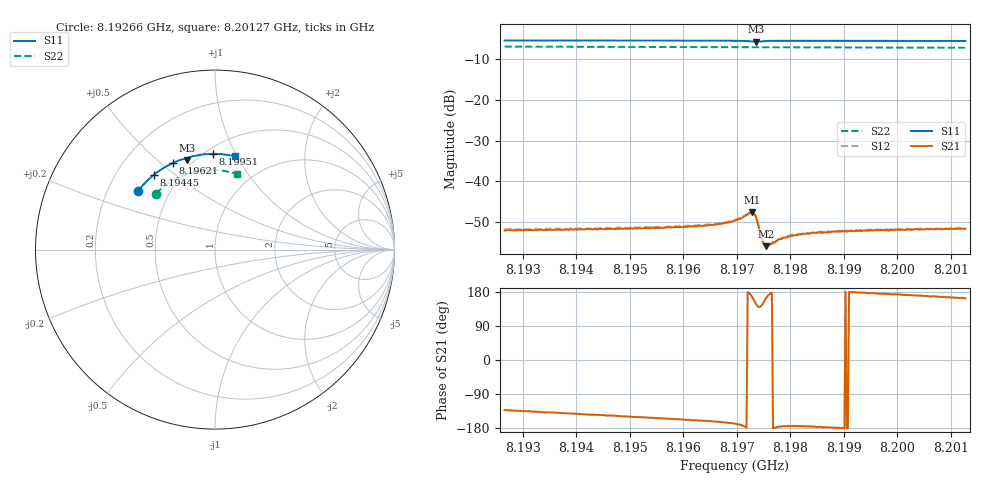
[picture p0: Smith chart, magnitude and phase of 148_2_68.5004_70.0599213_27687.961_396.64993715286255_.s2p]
#  HZ  S  RI  R  50.00
! Rohde & Schwarz Vector Network Analyzer
! Rohde-Schwarz,ZNB20-2Port,1311601062101988,3.16
! Created: UTC 3/20/2024, 5:10:18 PM
! freq[Hz]  re:S11  im:S11  re:S21  im:S21  re:S12  im:S12  re:S22  im:S22
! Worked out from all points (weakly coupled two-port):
!   401 points, 8.19266 GHz to 8.20127 GHz, reference 50 ohm
!   highest |S21| = -47.62 dB at 8.19729 GHz (marker M1); lowest = -55.9 dB at 8.19755 GHz (marker M2)
!   lowest |S11| = -5.7 dB at 8.19735 GHz (marker M3), VSWR 3.17, Z = 23 + j31.4 ohm
!   |S11| at or under -10 dB: nowhere
!   |S22| runs from -7.2 to -6.9 dB; largest |S21 - S12| = 0.00025
!   S11 on the Smith chart (normalised r, x): 8.19266 GHz: 0.33, +0.31; 8.19445 GHz: 0.36, +0.42; 8.19621 GHz: 0.41, +0.55; 8.19951 GHz: 0.55, +0.82; 8.20127 GHz: 0.68, +0.98
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8.192658e9  -0.4282 0.328  -0.00165 -0.00186  -0.0018 -0.00184  -0.3284 0.3121
8.194101e9  -0.3586 0.4019  -0.00205 -0.00156  -0.00213 -0.00152  -0.2668 0.3638
8.194445e9  -0.3399 0.4173  -0.00214 -0.00151  -0.00225 -0.00143  -0.2506 0.3745
8.195543e9  -0.2758 0.4612  -0.00237 -0.00119  -0.00249 -0.00111  -0.1966 0.4037
8.196211e9  -0.2336 0.4831  -0.00262 -0.001  -0.00272 -0.000927  -0.1617 0.4178
8.196598e9  -0.2079 0.4942  -0.00278 -0.000899  -0.00293 -0.00078  -0.141 0.4245
8.196964e9  -0.1816 0.503  -0.00321 -0.00069  -0.00333 -0.000535  -0.1211 0.43
8.197244e9  -0.1579 0.5031  -0.00406 0.000437  -0.00411 0.000601  -0.1056 0.4333
8.197287e9  -0.1551 0.5003  -0.00402 0.00104  -0.00405 0.00121  -0.1031 0.4337
8.197331e9  -0.1548 0.4974  -0.00354 0.00165  -0.00354 0.00187  -0.1009 0.4342
8.197352e9  -0.1557 0.4965  -0.00314 0.00189  -0.00316 0.00206  -0.0998 0.4343
8.197374e9  -0.157 0.4965  -0.0027 0.00194  -0.00268 0.00208  -0.0987 0.4345
8.197481e9  -0.1573 0.5045  -0.00154 0.000975  -0.00154 0.00103  -0.0929 0.4358
8.197524e9  -0.1546 0.5077  -0.00152 0.000597  -0.00151 0.000675  -0.0905 0.4364
8.197546e9  -0.1531 0.5089  -0.00153 0.000443  -0.00152 0.000519  -0.0893 0.4366
8.19761e9  -0.1481 0.5121  -0.00162 0.000189  -0.00166 0.000261  -0.0858 0.4372
8.197826e9  -0.1317 0.5181  -0.00195 -0.000143  -0.00196 -8.41e-05  -0.0736 0.4391
8.197998e9  -0.1189 0.5214  -0.0021 -0.0002  -0.00215 -0.00015  -0.064 0.4403
8.198407e9  -0.0897 0.5273  -0.00232 -0.000197  -0.00234 -8.8e-05  -0.0408 0.4422
8.199505e9  -0.0116 0.5335  -0.0025 0.000161  -0.00249 0.000258  0.0216 0.4416
8.19985e9  0.0128 0.5331  -0.0025 0.000274  -0.00255 0.000364  0.0411 0.4395
8.201271e9  0.1122 0.5196  -0.00249 0.000774  -0.00247 0.000887  0.12 0.4221
